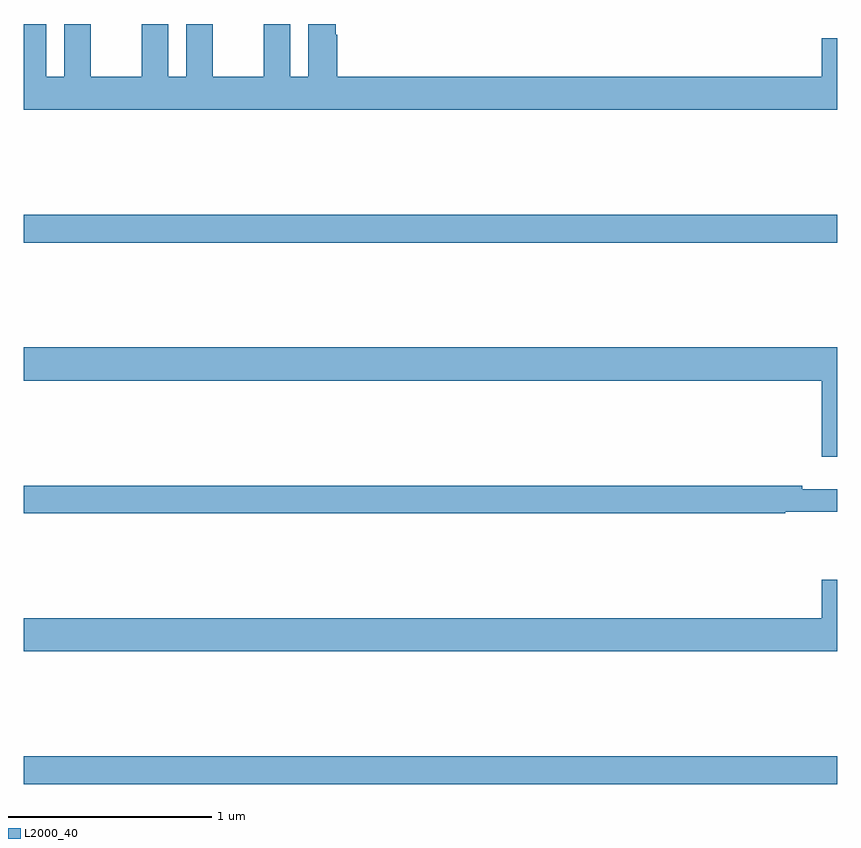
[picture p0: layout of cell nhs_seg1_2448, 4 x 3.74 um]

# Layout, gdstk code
import gdstk
lib = gdstk.Library(unit=1e-6, precision=1e-09)
def R(c, l, rs):  # rectangles x0, y0, x1, y1
    for r in rs: c.add(gdstk.rectangle(r[:2], r[2:], *l))
def P(c, l, *ps):  # polygons
    for p in ps: c.add(gdstk.Polygon(p, *l))
L2000_40 = (2000, 40)

nhs_seg1_2448 = lib.new_cell('nhs_seg1_2448')
R(nhs_seg1_2448, L2000_40, [(245,504.46,249,504.596), (245,507.124,249,507.26)])
P(nhs_seg1_2448, L2000_40, [(249,508.129),(248.924,508.129),(248.924,507.94),(246.542,507.94),(246.542,508.145),(246.535,508.145),(246.535,508.199),(246.398,508.199),(246.398,507.94),(246.31,507.94),(246.31,508.199),(246.179,508.199),(246.179,507.94),(245.929,507.94),(245.929,508.199),(245.798,508.199),(245.798,507.94),(245.71,507.94),(245.71,508.199),(245.579,508.199),(245.579,507.94),(245.329,507.94),(245.329,508.199),(245.198,508.199),(245.198,507.94),(245.11,507.94),(245.11,508.199),(245,508.199),(245,507.776),(249,507.776)],
  [(249,506.608),(245,506.608),(245,506.444),(248.924,506.444),(248.924,506.07),(249,506.07)],
  [(248.745,505.8),(249,505.8),(249,505.909),(248.828,505.909),(248.828,505.928),(245,505.928),(245,505.792),(248.745,505.792)],
  [(249,505.465),(248.924,505.465),(248.924,505.276),(245,505.276),(245,505.112),(249,505.112)])

lib.write_gds('nhs_seg1_2448.gds')
